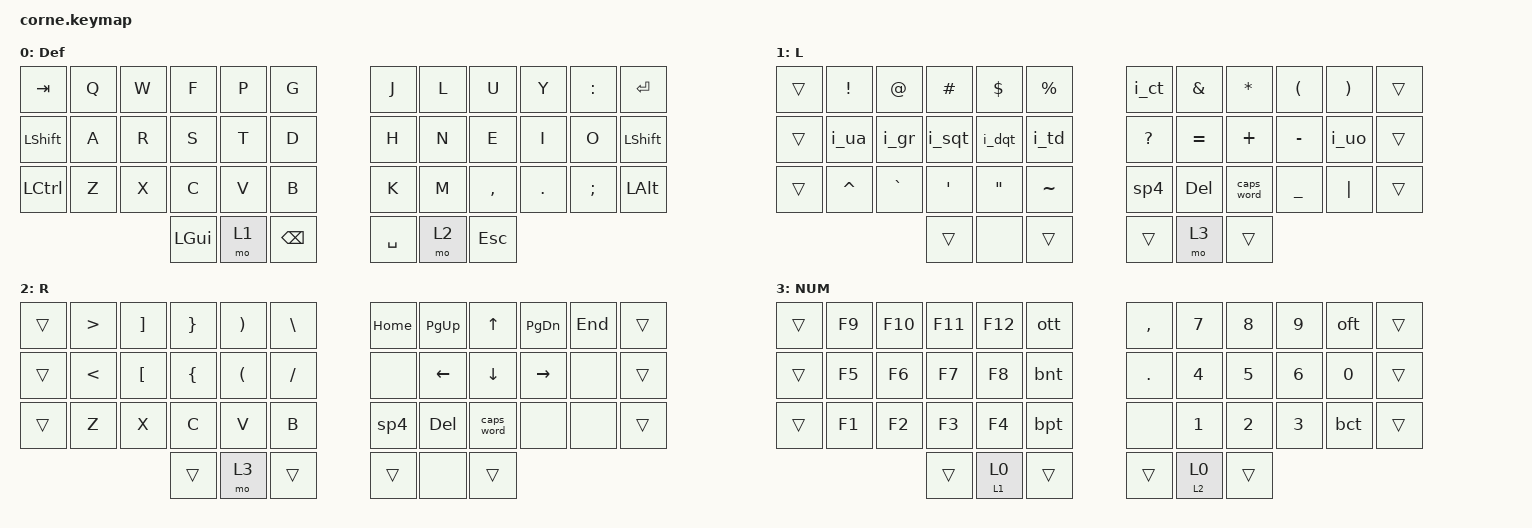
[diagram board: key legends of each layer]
/*
 * Copyright (c) 2021 The ZMK Contributors
 *
 * SPDX-License-Identifier: MIT
 */

#include <behaviors.dtsi>
#include <dt-bindings/zmk/keys.h>
#include <dt-bindings/zmk/bt.h>
#include <dt-bindings/zmk/ext_power.h>
#include <dt-bindings/zmk/outputs.h>

/ {
    behaviors {
        i_ua: i_uml_a {
            compatible = "zmk,behavior-macro";
            #binding-cells = <0>;
            bindings = <&macro_tap &kp DQT>, <&macro_tap &kp A>;
        };
        i_uo: i_uml_o {
            compatible = "zmk,behavior-macro";
            #binding-cells = <0>;
            bindings = <&macro_tap &kp DQT>, <&macro_tap &kp O>;
        };
        i_dqt: i_double_quote {
            compatible = "zmk,behavior-macro";
            #binding-cells = <0>;
            bindings = <&macro_tap &kp DQT>, <&macro_tap &kp SPACE>;
        };
        i_sqt: i_single_quote {
            compatible = "zmk,behavior-macro";
            #binding-cells = <0>;
            bindings = <&macro_tap &kp SQT>, <&macro_tap &kp SPACE>;
        };
        i_gr: i_grave {
            compatible = "zmk,behavior-macro";
            #binding-cells = <0>;
            bindings = <&macro_tap &kp GRAVE>, <&macro_tap &kp SPACE>;
        };
        i_td: i_tilde {
            compatible = "zmk,behavior-macro";
            #binding-cells = <0>;
            bindings = <&macro_tap &kp TILDE>, <&macro_tap &kp SPACE>;
        };
        i_ct: i_caret {
            compatible = "zmk,behavior-macro";
            #binding-cells = <0>;
            bindings= <&macro_tap &kp CARET>, <&macro_tap &kp SPACE>;
        };

        sp4: four_spaces {
            compatible = "zmk,behavior-macro";
            #binding-cells = <0>;
            bindings = <&macro_tap &kp SPACE &kp SPACE &kp SPACE &kp SPACE>;
        };
        bnt: bt_next_tap_dance {
            compatible = "zmk,behavior-tap-dance";
            #binding-cells = <0>;
            tapping-term-ms = <200>;
            bindings = <&none>, <&bt BT_NXT>;
        };
        bpt: bt_prev_tap_dance {
            compatible = "zmk,behavior-tap-dance";
            #binding-cells = <0>;
            tapping-term-ms = <200>;
            bindings = <&none>, <&bt BT_PRV>;
        };
        bct: bt_clr_tap_dance {
            compatible = "zmk,behavior-tap-dance";
            #binding-cells = <0>;
            tapping-term-ms = <200>;
            bindings = <&none>, <&bt BT_CLR>;
        };
        ott: out_tog_tap_dance {
            compatible = "zmk,behavior-tap-dance";
            #binding-cells = <0>;
            tapping-term-ms = <200>;
            bindings = <&none>, <&out OUT_TOG>;
        };

        oft: off_tap_dance {
            compatible = "zmk,behavior-tap-dance";
            #binding-cells = <0>;
            tapping-term-ms = <200>;
            bindings = <&none>, <&soft_off>;
        };

        sst: screenshot_tap_dance {
            compatible = "zmk,behavior-tap-dance";
            #binding-cells = <0>;
            tapping-term-ms = <200>;
            bindings = <&none>, <&kp PSCRN>;
        };

        mtl: mo_to_hold_tap {
            compatible = "zmk,behavior-hold-tap";
            #binding-cells = <2>;
            flavor = "hold-preferred";
            tapping-term-ms = <200>;
            bindings = <&mo>, <&to>;
        };
    };
};

&caps_word {
    continue-list = <
                    UNDERSCORE
                    MINUS
                    DELETE
                    BACKSPACE
                    >;
};


/ {
    keymap {
        compatible =  "zmk,keymap" ;

        default {
                        display-name = "Def";
// -------------------------------------------------------------------------------
// | TAB |  Q  |  W  |  F  |  P  |  G  | --- |  J  |  L  |  U  |  Y  |  :  | RET |
// | SFT |  A  |  R  |  S  |  T  |  D  | --- |  H  |  N  |  E  |  I  |  O  | SFT |
// | CTL |  Z  |  X  |  C  |  V  |  B  | --- |  K  |  M  |  ,  |  .  |  ;  | ALT |
// |     |     |     | GUI | LFT | BSP | --- | SPC | RGT | ESC |     |     |     |
                        bindings = <
   &kp TAB    &kp Q  &kp W  &kp F     &kp P      &kp G         &kp J      &kp L     &kp U      &kp Y     &kp COLON  &kp RET
   &kp LSHFT  &kp A  &kp R  &kp S     &kp T      &kp D         &kp H      &kp N     &kp E      &kp I     &kp O      &kp LSHFT
   &kp LCTRL  &kp Z  &kp X  &kp C     &kp V      &kp B         &kp K      &kp M     &kp COMMA  &kp DOT   &kp SEMI   &kp LALT
                            &kp LGUI  &mo 1     &kp BSPC      &kp SPACE  &mo 2     &kp ESC
                        >;
                };
                left_layer {
                        display-name = "L";
// -------------------------------------------------------------------------------
// | TAB |  !  |  @  |  #  |  $  |  %  | --- |  ^  |  &  |  *  |  (  |  )  | RET |
// | SFT |  Ä  |  `  |  '  |  "  |  ~  | --- |  ?  |  =  |  +  |  -  |  Ö  | SFT |
// | CTL |  ^  |  `  |  '  |  "  |  ~  | --- | 4sp | DEL | CAP |  _  |  |  | ALT |
// |     |     |     | GUI |     | BSP | --- | SPC | NUM | ESC |     |     |     |
                        bindings = <
   &trans  &kp EXCL   &kp AT     &kp HASH  &kp DLLR  &kp PRCNT      &i_ct      &kp AMPS   &kp ASTRK   &kp LPAR    &kp RPAR  &trans
   &trans  &i_ua      &i_gr      &i_sqt    &i_dqt    &i_td          &kp QMARK  &kp EQUAL  &kp PLUS    &kp MINUS   &i_uo     &trans
   &trans  &kp CARET  &kp GRAVE  &kp SQT   &kp DQT   &kp TILDE      &sp4       &kp DEL    &caps_word  &kp UNDER   &kp PIPE  &trans
                                 &trans    &none     &trans         &trans     &mo 3      &trans
                        >;
                };
                right_layer {
                        display-name = "R";
// -------------------------------------------------------------------------------
// | TAB |  >  |  ]  |  )  |  )  |  \  | --- | HME | PGU | UP  | PGD | END | RET |
// | SFT |  <  |  [  |  {  |  (  |  /  | --- |     | LFT | DWN | RGT |     | SFT |
// | CTL |  Z  |  X  |  C  |  V  |  B  | --- | 4sp | DEL | CAP |     |     | ALT |
// |     |     |     | GUI | NUM | BSP | --- | SPC |     | ESC |     |     |     |
                        bindings = <
   &trans  &kp GT    &kp RBKT  &kp RBRC   &kp RPAR  &kp BSLH      &kp HOME  &kp PG_UP  &kp UP      &kp PG_DN  &kp END  &trans
   &trans  &kp LT    &kp LBKT  &kp LBRC   &kp LPAR  &kp FSLH      &none     &kp LEFT   &kp DOWN    &kp RIGHT  &none    &trans
   &trans  &kp Z     &kp X     &kp C      &kp V     &kp B         &sp4      &kp DEL    &caps_word  &none      &none    &trans
                               &trans     &mo 3     &trans        &trans    &none      &trans
                        >;
                };
                num {  // OTG, BTN, BTP, BTD, OFF with double-tap
                        display-name = "NUM";
// -------------------------------------------------------------------------------
// | TAB | F9  | F10 | F11 | F12 | OTG | --- |  ,  |  7  |  8  |  9  | OFF | RET |
// | SFT | F5  | F6  | F7  | F8  | BTN | --- |  .  |  4  |  5  |  6  |  0  | SFT |
// | CTL | F1  | F2  | F3  | F4  | BTP | --- |     |  1  |  2  |  3  | BTD | ALT |
// |     |     |     | GUI | MLD | BSP | --- | SPC | MRD | ESC |     |     |     |
            bindings = <
   &trans  &kp F9  &kp F10  &kp F11 &kp F12   &ott        &kp COMMA  &kp N7    &kp N8  &kp N9  &oft    &trans
   &trans  &kp F5  &kp F6   &kp F7  &kp F8    &bnt        &kp DOT    &kp N4    &kp N5  &kp N6  &kp N0  &trans
   &trans  &kp F1  &kp F2   &kp F3  &kp F4    &bpt        &none      &kp N1    &kp N2  &kp N3  &bct    &trans
                            &trans  &mtl 1 0  &trans      &trans     &mtl 2 0  &trans
            >;
        };

    };
};
